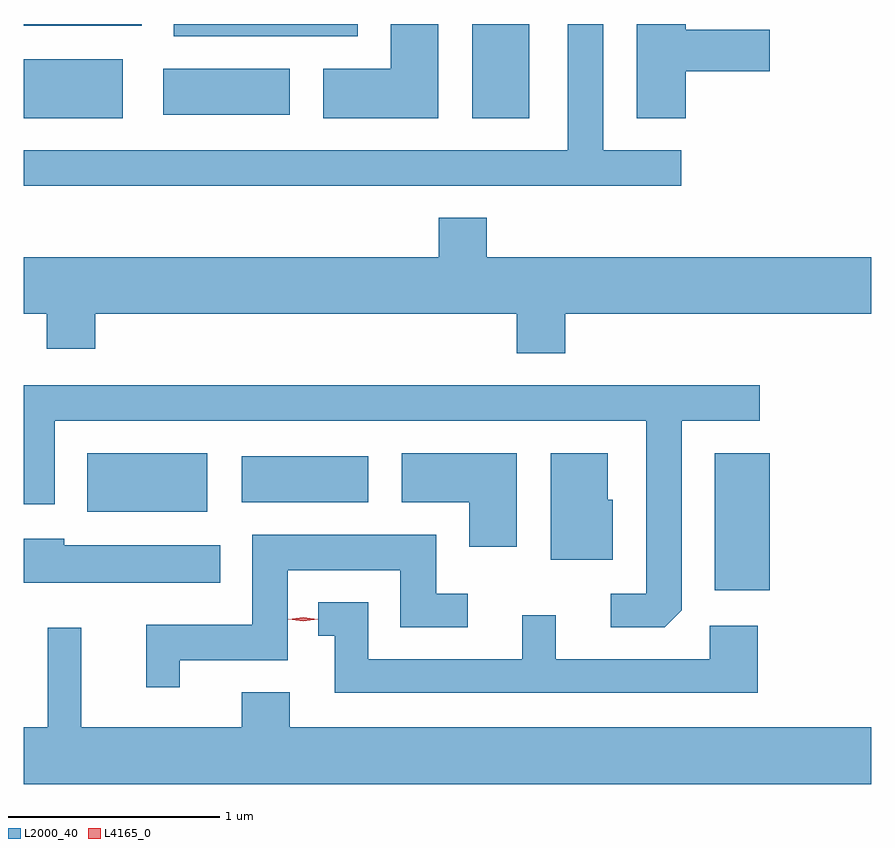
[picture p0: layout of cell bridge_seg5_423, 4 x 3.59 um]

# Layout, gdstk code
import gdstk
lib = gdstk.Library(unit=1e-6, precision=1e-09)
def R(c, l, rs):  # rectangles x0, y0, x1, y1
    for r in rs: c.add(gdstk.rectangle(r[:2], r[2:], *l))
def P(c, l, *ps):  # polygons
    for p in ps: c.add(gdstk.Polygon(p, *l))
L2000_40 = (2000, 40)
L4165_0 = (4165, 0)

bridge_seg5_423 = lib.new_cell('bridge_seg5_423')
R(bridge_seg5_423, L2000_40, [(371.776,1502.111,372.034,1502.759), (368.811,1502.481,369.379,1502.759), (369.541,1502.526,370.139,1502.744), (368.513,1504.341,368.979,1504.619), (370.631,1504.341,370.899,1504.785), (369.171,1504.356,369.769,1504.574), (369.221,1504.726,370.089,1504.785), (368.513,1504.776,369.069,1504.785)])
P(bridge_seg5_423, L2000_40, [(371.618,1504.189),(371.249,1504.189),(371.249,1504.785),(371.081,1504.785),(371.081,1504.189),(368.513,1504.189),(368.513,1504.021),(371.618,1504.021)],
  [(371.639,1504.561),(372.034,1504.561),(372.034,1504.759),(371.639,1504.759),(371.639,1504.785),(371.406,1504.785),(371.406,1504.341),(371.639,1504.341)],
  [(370.469,1504.784),(370.246,1504.784),(370.246,1504.574),(369.926,1504.574),(369.926,1504.341),(370.469,1504.341)],
  [(371.069,1503.416),(372.513,1503.416),(372.513,1503.684),(370.699,1503.684),(370.699,1503.869),(370.471,1503.869),(370.471,1503.684),(368.513,1503.684),(368.513,1503.416),(368.621,1503.416),(368.621,1503.251),(368.849,1503.251),(368.849,1503.416),(370.841,1503.416),(370.841,1503.231),(371.069,1503.231)],
  [(371.619,1502.017),(371.619,1502.911),(371.988,1502.911),(371.988,1503.079),(368.513,1503.079),(368.513,1502.516),(368.659,1502.516),(368.659,1502.911),(371.451,1502.911),(371.451,1502.094),(371.283,1502.094),(371.283,1501.936),(371.539,1501.936)],
  [(370.839,1502.759),(370.296,1502.759),(370.296,1502.526),(370.616,1502.526),(370.616,1502.316),(370.839,1502.316)],
  [(371.294,1502.539),(371.269,1502.539),(371.269,1502.759),(371.001,1502.759),(371.001,1502.256),(371.294,1502.256)],
  [(369.249,1501.781),(369.759,1501.781),(369.759,1502.206),(370.291,1502.206),(370.291,1501.936),(370.608,1501.936),(370.608,1502.094),(370.459,1502.094),(370.459,1502.374),(369.591,1502.374),(369.591,1501.949),(369.091,1501.949),(369.091,1501.653),(369.249,1501.653)],
  [(369.439,1502.324),(368.704,1502.324),(368.704,1502.354),(368.513,1502.354),(368.513,1502.146),(369.439,1502.146)],
  [(371.979,1501.944),(371.751,1501.944),(371.751,1501.784),(371.024,1501.784),(371.024,1501.993),(370.866,1501.993),(370.866,1501.784),(370.139,1501.784),(370.139,1502.054),(369.903,1502.054),(369.903,1501.896),(369.981,1501.896),(369.981,1501.626),(371.979,1501.626)],
  [(372.513,1501.464),(369.769,1501.464),(369.769,1501.629),(369.541,1501.629),(369.541,1501.464),(368.784,1501.464),(368.784,1501.933),(368.626,1501.933),(368.626,1501.464),(368.513,1501.464),(368.513,1501.196),(372.513,1501.196)])
P(bridge_seg5_423, L4165_0, [(369.831,1501.964),(369.762,1501.974),(369.762,1501.974),(369.762,1501.974),(369.831,1501.983),(369.901,1501.974),(369.901,1501.973),(369.901,1501.973)])

lib.write_gds('bridge_seg5_423.gds')
